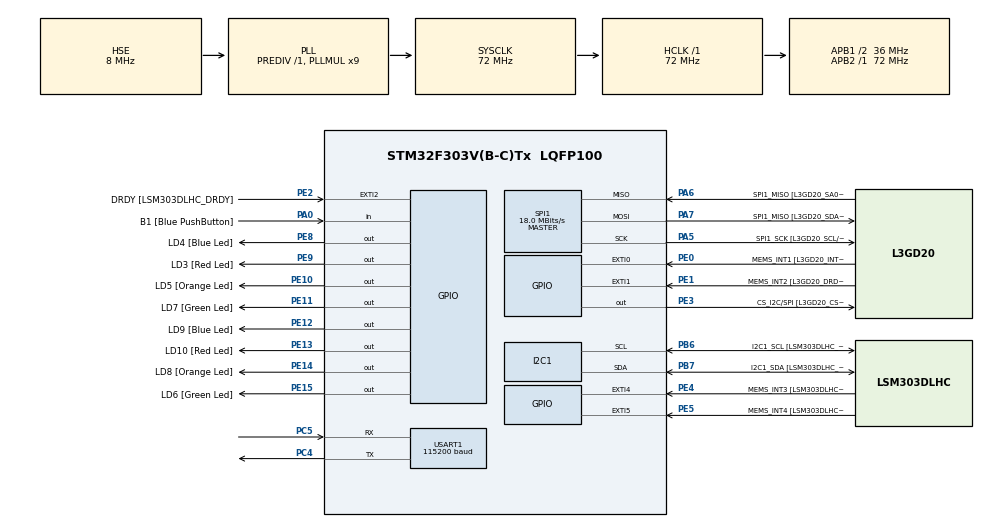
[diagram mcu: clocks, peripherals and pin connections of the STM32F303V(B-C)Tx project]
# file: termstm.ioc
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I2C1.Timing-I2C=0x2000090E
Mcu.Family=STM32F3
Mcu.Name=STM32F303V(B-C)Tx
Mcu.Package=LQFP100
NVIC.PriorityGroup=NVIC_PRIORITYGROUP_0
PA0.GPIO_Label=B1 [Blue PushButton]
PA0.Signal=GPIO_Input
PA11.GPIO_Label=DM
PA11.Signal=USB_DM
PA12.GPIO_Label=DP
PA12.Signal=USB_DP
PA13.GPIO_Label=SWDIO
PA13.Mode=Trace_Asynchronous_SW
PA13.Signal=SYS_JTMS-SWDIO
PA14.GPIO_Label=SWCLK
PA14.Mode=Trace_Asynchronous_SW
PA14.Signal=SYS_JTCK-SWCLK
PA5.GPIO_Label=SPI1_SCK [L3GD20_SCL/SPC]
PA5.Mode=Full_Duplex_Master
PA5.Signal=SPI1_SCK
PA6.GPIO_Label=SPI1_MISO [L3GD20_SA0/SDO]
PA6.Mode=Full_Duplex_Master
PA6.Signal=SPI1_MISO
PA7.GPIO_Label=SPI1_MISO [L3GD20_SDA/SDI/SDO]
PA7.Mode=Full_Duplex_Master
PA7.Signal=SPI1_MOSI
PB3.GPIO_Label=SWO
PB3.Mode=Trace_Asynchronous_SW
PB3.Signal=SYS_JTDO-TRACESWO
PB6.GPIO_Label=I2C1_SCL [LSM303DLHC_SCL]
PB6.GPIO_Pu=GPIO_PULLUP
PB6.Mode=I2C
PB6.Signal=I2C1_SCL
PB7.GPIO_Label=I2C1_SDA [LSM303DLHC_SDA]
PB7.GPIO_Pu=GPIO_PULLUP
PB7.Mode=I2C
PB7.Signal=I2C1_SDA
PC14-OSC32_IN.GPIO_Label=OSC32_IN
PC14-OSC32_IN.Signal=RCC_OSC32_IN
PC15-OSC32_OUT.GPIO_Label=OSC32_OUT
PC15-OSC32_OUT.Signal=RCC_OSC32_OUT
PC4.Mode=Asynchronous
PC4.Signal=USART1_TX
PC5.Mode=Asynchronous
PC5.Signal=USART1_RX
PE0.GPIO_Label=MEMS_INT1 [L3GD20_INT1]
PE0.GPIO_ModeDefaultEXTI=GPIO_MODE_EVT_RISING
PE0.Signal=GPXTI0
PE1.GPIO_Label=MEMS_INT2 [L3GD20_DRDY/INT2]
PE1.GPIO_ModeDefaultEXTI=GPIO_MODE_EVT_RISING
PE1.Signal=GPXTI1
PE10.GPIO_Label=LD5 [Orange Led]
PE10.Signal=GPIO_Output
PE11.GPIO_Label=LD7 [Green Led]
PE11.Signal=GPIO_Output
PE12.GPIO_Label=LD9 [Blue Led]
PE12.Signal=GPIO_Output
PE13.GPIO_Label=LD10 [Red Led]
PE13.Signal=GPIO_Output
PE14.GPIO_Label=LD8 [Orange Led]
PE14.Signal=GPIO_Output
PE15.GPIO_Label=LD6 [Green Led]
PE15.Signal=GPIO_Output
PE2.GPIO_Label=DRDY [LSM303DLHC_DRDY]
PE2.GPIO_ModeDefaultEXTI=GPIO_MODE_EVT_RISING
PE2.Signal=GPXTI2
PE3.GPIO_Label=CS_I2C/SPI [L3GD20_CS_I2C/SPI]
PE3.Signal=GPIO_Output
PE4.GPIO_Label=MEMS_INT3 [LSM303DLHC_INT1]
PE4.GPIO_ModeDefaultEXTI=GPIO_MODE_EVT_RISING
PE4.Signal=GPXTI4
PE5.GPIO_Label=MEMS_INT4 [LSM303DLHC_INT2]
PE5.GPIO_ModeDefaultEXTI=GPIO_MODE_EVT_RISING
PE5.Signal=GPXTI5
PE8.GPIO_Label=LD4 [Blue Led]
PE8.Signal=GPIO_Output
PE9.GPIO_Label=LD3 [Red Led]
PE9.Signal=GPIO_Output
PF0-OSC_IN.GPIO_Label=OSC_IN
PF0-OSC_IN.Mode=HSE-External-Clock-Source
PF0-OSC_IN.Signal=RCC_OSC_IN
PF1-OSC_OUT.GPIO_Label=OSC_OUT
PF1-OSC_OUT.Signal=RCC_OSC_OUT
ProjectManager.HeapSize=0x200
ProjectManager.StackSize=0x400
ProjectManager.TargetToolchain=STM32CubeIDE
RCC.AHBFreq_Value=72000000
RCC.APB1CLKDivider=RCC_HCLK_DIV2
RCC.APB1Freq_Value=36000000
RCC.APB1TimFreq_Value=72000000
RCC.APB2Freq_Value=72000000
RCC.APB2TimFreq_Value=72000000
RCC.CortexFreq_Value=72000000
RCC.HCLKFreq_Value=72000000
RCC.HSE_VALUE=8000000
RCC.HSI_VALUE=8000000
RCC.LSE_VALUE=32768
RCC.PLLMUL=RCC_PLL_MUL9
RCC.PLLSourceVirtual=RCC_PLLSOURCE_HSE
RCC.PRESCALERUSB=RCC_USBCLKSOURCE_PLL_DIV1_5
RCC.SYSCLKFreq_VALUE=72000000
RCC.SYSCLKSourceVirtual=RCC_SYSCLKSOURCE_PLLCLK
RCC.USBFreq_Value=48000000
SPI1.BaudRatePrescaler=SPI_BAUDRATEPRESCALER_4
SPI1.BaudRatePrescaler-Full_Duplex_Master=SPI_BAUDRATEPRESCALER_2
SPI1.CalculateBaudRate=18.0 MBits/s
SPI1.CalculateBaudRate-Full_Duplex_Master=24.0 MBits/s
SPI1.Direction=SPI_DIRECTION_2LINES
SPI1.Mode=SPI_MODE_MASTER
SPI1.Mode-Full_Duplex_Master=SPI_MODE_MASTER
SPI1.VirtualType=VM_MASTER
USART1.BaudRate=115200
USART1.Parity=PARITY_EVEN
USART1.VirtualMode-Asynchronous=VM_ASYNC
USART1.WordLength=WORDLENGTH_9B
board=STM32F3DISCOVERY

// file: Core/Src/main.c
/* USER CODE BEGIN Header */
/**
  ******************************************************************************
  * @file           : main.c
  * @brief          : Main program body
  ******************************************************************************
  * @attention
  *
  * Copyright (c) 2023 STMicroelectronics.
  * All rights reserved.
  *
  * This software is licensed under terms that can be found in the LICENSE file
  * in the root directory of this software component.
  * If no LICENSE file comes with this software, it is provided AS-IS.
  *
  ******************************************************************************
  */
/* USER CODE END Header */
#include "main.h"

/* USER CODE BEGIN Includes */
#include <stdio.h>

void main_loop(void);
void main_init(void);
/* USER CODE END Includes */

I2C_HandleTypeDef hi2c1;

SPI_HandleTypeDef hspi1;

UART_HandleTypeDef huart1;

void SystemClock_Config(void);
static void MX_GPIO_Init(void);
static void MX_I2C1_Init(void);
static void MX_SPI1_Init(void);
static void MX_USART1_UART_Init(void);

/* USER CODE BEGIN 0 */
int __io_putchar(int ch){
	HAL_UART_Transmit(&huart1, (const uint8_t *)&ch, 1, 100);
	if(ch=='\n')HAL_UART_Transmit(&huart1, (const uint8_t *)"\r", 1, 100);
	return 0;
}

/* USER CODE END 0 */

int main(void)
{

  /* MCU Configuration--------------------------------------------------------*/

  /* Reset of all peripherals, Initializes the Flash interface and the Systick. */
  HAL_Init();

  /* Configure the system clock */
  SystemClock_Config();

  /* Initialize all configured peripherals */
  MX_GPIO_Init();
  MX_I2C1_Init();
  MX_SPI1_Init();
  MX_USART1_UART_Init();
  /* USER CODE BEGIN 2 */
  main_init();
  /* USER CODE END 2 */

  /* Infinite loop */
  while (1)
  {

    /* USER CODE BEGIN 3 */
	  main_loop();
	  fprintf(stderr,".");

	  HAL_GPIO_TogglePin(LD3_GPIO_Port, LD3_Pin);
	  HAL_GPIO_TogglePin(LD4_GPIO_Port, LD4_Pin);
	  HAL_GPIO_TogglePin(LD5_GPIO_Port, LD5_Pin);
	  HAL_GPIO_TogglePin(LD6_GPIO_Port, LD6_Pin);
	  HAL_GPIO_TogglePin(LD7_GPIO_Port, LD7_Pin);
	  HAL_GPIO_TogglePin(LD8_GPIO_Port, LD8_Pin);
	  HAL_GPIO_TogglePin(LD9_GPIO_Port, LD9_Pin);
	  HAL_GPIO_TogglePin(LD10_GPIO_Port, LD10_Pin);

	  HAL_Delay(100);

  }
  /* USER CODE END 3 */
}

void SystemClock_Config(void)
{
  RCC_OscInitTypeDef RCC_OscInitStruct = {0};
  RCC_ClkInitTypeDef RCC_ClkInitStruct = {0};
  RCC_PeriphCLKInitTypeDef PeriphClkInit = {0};

  /** Initializes the RCC Oscillators according to the specified parameters
  * in the RCC_OscInitTypeDef structure.
  */
  RCC_OscInitStruct.OscillatorType = RCC_OSCILLATORTYPE_HSI|RCC_OSCILLATORTYPE_HSE;
  RCC_OscInitStruct.HSEState = RCC_HSE_BYPASS;
  RCC_OscInitStruct.HSEPredivValue = RCC_HSE_PREDIV_DIV1;
  RCC_OscInitStruct.HSIState = RCC_HSI_ON;
  RCC_OscInitStruct.HSICalibrationValue = RCC_HSICALIBRATION_DEFAULT;
  RCC_OscInitStruct.PLL.PLLState = RCC_PLL_ON;
  RCC_OscInitStruct.PLL.PLLSource = RCC_PLLSOURCE_HSE;
  RCC_OscInitStruct.PLL.PLLMUL = RCC_PLL_MUL9;
  if (HAL_RCC_OscConfig(&RCC_OscInitStruct) != HAL_OK)
  {
    Error_Handler();
  }

  /** Initializes the CPU, AHB and APB buses clocks
  */
  RCC_ClkInitStruct.ClockType = RCC_CLOCKTYPE_HCLK|RCC_CLOCKTYPE_SYSCLK
                              |RCC_CLOCKTYPE_PCLK1|RCC_CLOCKTYPE_PCLK2;
  RCC_ClkInitStruct.SYSCLKSource = RCC_SYSCLKSOURCE_PLLCLK;
  RCC_ClkInitStruct.AHBCLKDivider = RCC_SYSCLK_DIV1;
  RCC_ClkInitStruct.APB1CLKDivider = RCC_HCLK_DIV2;
  RCC_ClkInitStruct.APB2CLKDivider = RCC_HCLK_DIV1;

  if (HAL_RCC_ClockConfig(&RCC_ClkInitStruct, FLASH_LATENCY_2) != HAL_OK)
  {
    Error_Handler();
  }
  PeriphClkInit.PeriphClockSelection = RCC_PERIPHCLK_USART1|RCC_PERIPHCLK_I2C1;
  PeriphClkInit.Usart1ClockSelection = RCC_USART1CLKSOURCE_PCLK2;
  PeriphClkInit.I2c1ClockSelection = RCC_I2C1CLKSOURCE_HSI;
  if (HAL_RCCEx_PeriphCLKConfig(&PeriphClkInit) != HAL_OK)
  {
    Error_Handler();
  }
}

static void MX_I2C1_Init(void)
{

  hi2c1.Instance = I2C1;
  hi2c1.Init.Timing = 0x2000090E;
  hi2c1.Init.OwnAddress1 = 0;
  hi2c1.Init.AddressingMode = I2C_ADDRESSINGMODE_7BIT;
  hi2c1.Init.DualAddressMode = I2C_DUALADDRESS_DISABLE;
  hi2c1.Init.OwnAddress2 = 0;
  hi2c1.Init.OwnAddress2Masks = I2C_OA2_NOMASK;
  hi2c1.Init.GeneralCallMode = I2C_GENERALCALL_DISABLE;
  hi2c1.Init.NoStretchMode = I2C_NOSTRETCH_DISABLE;
  if (HAL_I2C_Init(&hi2c1) != HAL_OK)
  {
    Error_Handler();
  }

  /** Configure Analogue filter
  */
  if (HAL_I2CEx_ConfigAnalogFilter(&hi2c1, I2C_ANALOGFILTER_ENABLE) != HAL_OK)
  {
    Error_Handler();
  }

  /** Configure Digital filter
  */
  if (HAL_I2CEx_ConfigDigitalFilter(&hi2c1, 0) != HAL_OK)
  {
    Error_Handler();
  }

}

static void MX_SPI1_Init(void)
{

  /* SPI1 parameter configuration*/
  hspi1.Instance = SPI1;
  hspi1.Init.Mode = SPI_MODE_MASTER;
  hspi1.Init.Direction = SPI_DIRECTION_2LINES;
  hspi1.Init.DataSize = SPI_DATASIZE_4BIT;
  hspi1.Init.CLKPolarity = SPI_POLARITY_LOW;
  hspi1.Init.CLKPhase = SPI_PHASE_1EDGE;
  hspi1.Init.NSS = SPI_NSS_SOFT;
  hspi1.Init.BaudRatePrescaler = SPI_BAUDRATEPRESCALER_4;
  hspi1.Init.FirstBit = SPI_FIRSTBIT_MSB;
  hspi1.Init.TIMode = SPI_TIMODE_DISABLE;
  hspi1.Init.CRCCalculation = SPI_CRCCALCULATION_DISABLE;
  hspi1.Init.CRCPolynomial = 7;
  hspi1.Init.CRCLength = SPI_CRC_LENGTH_DATASIZE;
  hspi1.Init.NSSPMode = SPI_NSS_PULSE_ENABLE;
  if (HAL_SPI_Init(&hspi1) != HAL_OK)
  {
    Error_Handler();
  }

}

static void MX_USART1_UART_Init(void)
{

  huart1.Instance = USART1;
  huart1.Init.BaudRate = 115200;
  huart1.Init.WordLength = UART_WORDLENGTH_9B;
  huart1.Init.StopBits = UART_STOPBITS_1;
  huart1.Init.Parity = UART_PARITY_EVEN;
  huart1.Init.Mode = UART_MODE_TX_RX;
  huart1.Init.HwFlowCtl = UART_HWCONTROL_NONE;
  huart1.Init.OverSampling = UART_OVERSAMPLING_16;
  huart1.Init.OneBitSampling = UART_ONE_BIT_SAMPLE_DISABLE;
  huart1.AdvancedInit.AdvFeatureInit = UART_ADVFEATURE_NO_INIT;
  if (HAL_UART_Init(&huart1) != HAL_OK)
  {
    Error_Handler();
  }

}

static void MX_GPIO_Init(void)
{
  GPIO_InitTypeDef GPIO_InitStruct = {0};

  /* GPIO Ports Clock Enable */
  __HAL_RCC_GPIOE_CLK_ENABLE();
  __HAL_RCC_GPIOC_CLK_ENABLE();
  __HAL_RCC_GPIOF_CLK_ENABLE();
  __HAL_RCC_GPIOA_CLK_ENABLE();
  __HAL_RCC_GPIOB_CLK_ENABLE();

  /*Configure GPIO pin Output Level */
  HAL_GPIO_WritePin(GPIOE, CS_I2C_SPI_Pin|LD4_Pin|LD3_Pin|LD5_Pin
                          |LD7_Pin|LD9_Pin|LD10_Pin|LD8_Pin
                          |LD6_Pin, GPIO_PIN_RESET);

  /*Configure GPIO pins : DRDY_Pin MEMS_INT3_Pin MEMS_INT4_Pin MEMS_INT1_Pin
                           MEMS_INT2_Pin */
  GPIO_InitStruct.Pin = DRDY_Pin|MEMS_INT3_Pin|MEMS_INT4_Pin|MEMS_INT1_Pin
                          |MEMS_INT2_Pin;
  GPIO_InitStruct.Mode = GPIO_MODE_EVT_RISING;
  GPIO_InitStruct.Pull = GPIO_NOPULL;
  HAL_GPIO_Init(GPIOE, &GPIO_InitStruct);

  /*Configure GPIO pins : CS_I2C_SPI_Pin LD4_Pin LD3_Pin LD5_Pin
                           LD7_Pin LD9_Pin LD10_Pin LD8_Pin
                           LD6_Pin */
  GPIO_InitStruct.Pin = CS_I2C_SPI_Pin|LD4_Pin|LD3_Pin|LD5_Pin
                          |LD7_Pin|LD9_Pin|LD10_Pin|LD8_Pin
                          |LD6_Pin;
  GPIO_InitStruct.Mode = GPIO_MODE_OUTPUT_PP;
  GPIO_InitStruct.Pull = GPIO_NOPULL;
  GPIO_InitStruct.Speed = GPIO_SPEED_FREQ_LOW;
  HAL_GPIO_Init(GPIOE, &GPIO_InitStruct);

  /*Configure GPIO pin : B1_Pin */
  GPIO_InitStruct.Pin = B1_Pin;
  GPIO_InitStruct.Mode = GPIO_MODE_INPUT;
  GPIO_InitStruct.Pull = GPIO_NOPULL;
  HAL_GPIO_Init(B1_GPIO_Port, &GPIO_InitStruct);

  /*Configure GPIO pins : DM_Pin DP_Pin */
  GPIO_InitStruct.Pin = DM_Pin|DP_Pin;
  GPIO_InitStruct.Mode = GPIO_MODE_AF_PP;
  GPIO_InitStruct.Pull = GPIO_NOPULL;
  GPIO_InitStruct.Speed = GPIO_SPEED_FREQ_HIGH;
  GPIO_InitStruct.Alternate = GPIO_AF14_USB;
  HAL_GPIO_Init(GPIOA, &GPIO_InitStruct);

}

void Error_Handler(void)
{
  __disable_irq();
  while (1)
  {
  }
}
